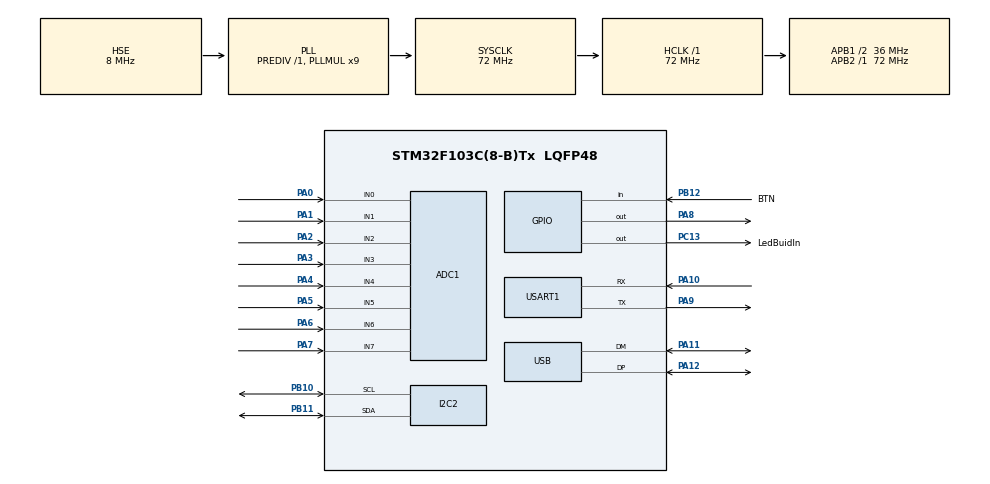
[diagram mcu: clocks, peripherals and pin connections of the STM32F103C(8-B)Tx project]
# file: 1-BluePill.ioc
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ADC1.Channel-0\#ChannelRegularConversion=ADC_CHANNEL_0
ADC1.Channel-1\#ChannelRegularConversion=ADC_CHANNEL_1
ADC1.Channel-2\#ChannelRegularConversion=ADC_CHANNEL_2
ADC1.Channel-3\#ChannelRegularConversion=ADC_CHANNEL_3
ADC1.Channel-4\#ChannelRegularConversion=ADC_CHANNEL_4
ADC1.Channel-5\#ChannelRegularConversion=ADC_CHANNEL_5
ADC1.Channel-6\#ChannelRegularConversion=ADC_CHANNEL_6
ADC1.Channel-7\#ChannelRegularConversion=ADC_CHANNEL_7
ADC1.NbrOfConversion=8
ADC1.NbrOfConversionFlag=1
ADC1.Rank-0\#ChannelRegularConversion=1
ADC1.Rank-1\#ChannelRegularConversion=2
ADC1.Rank-2\#ChannelRegularConversion=3
ADC1.Rank-3\#ChannelRegularConversion=4
ADC1.Rank-4\#ChannelRegularConversion=5
ADC1.Rank-5\#ChannelRegularConversion=6
ADC1.Rank-6\#ChannelRegularConversion=7
ADC1.Rank-7\#ChannelRegularConversion=8
ADC1.SamplingTime-0\#ChannelRegularConversion=ADC_SAMPLETIME_1CYCLE_5
ADC1.SamplingTime-1\#ChannelRegularConversion=ADC_SAMPLETIME_1CYCLE_5
ADC1.SamplingTime-2\#ChannelRegularConversion=ADC_SAMPLETIME_1CYCLE_5
ADC1.SamplingTime-3\#ChannelRegularConversion=ADC_SAMPLETIME_1CYCLE_5
ADC1.SamplingTime-4\#ChannelRegularConversion=ADC_SAMPLETIME_1CYCLE_5
ADC1.SamplingTime-5\#ChannelRegularConversion=ADC_SAMPLETIME_1CYCLE_5
ADC1.SamplingTime-6\#ChannelRegularConversion=ADC_SAMPLETIME_1CYCLE_5
ADC1.SamplingTime-7\#ChannelRegularConversion=ADC_SAMPLETIME_1CYCLE_5
ADC1.master=1
Dma.ADC1.0.Direction=DMA_PERIPH_TO_MEMORY
Dma.ADC1.0.Instance=DMA1_Channel1
Dma.ADC1.0.MemDataAlignment=DMA_MDATAALIGN_HALFWORD
Dma.ADC1.0.MemInc=DMA_MINC_ENABLE
Dma.ADC1.0.Mode=DMA_NORMAL
Dma.ADC1.0.PeriphDataAlignment=DMA_PDATAALIGN_HALFWORD
Dma.ADC1.0.PeriphInc=DMA_PINC_DISABLE
Dma.ADC1.0.Priority=DMA_PRIORITY_LOW
Dma.Request0=ADC1
Mcu.Family=STM32F1
Mcu.Name=STM32F103C(8-B)Tx
Mcu.Package=LQFP48
NVIC.DMA1_Channel1_IRQn=true\:0\:0\:false\:false\:true\:false\:true\:true
NVIC.PriorityGroup=NVIC_PRIORITYGROUP_4
NVIC.TIM1_UP_IRQn=true\:0\:0\:false\:false\:true\:true\:true\:true
NVIC.USART1_IRQn=true\:0\:0\:false\:false\:true\:true\:true\:true
NVIC.USB_LP_CAN1_RX0_IRQn=true\:0\:0\:false\:false\:true\:false\:true\:true
PA0-WKUP.Signal=ADCx_IN0
PA1.Signal=ADCx_IN1
PA10.Mode=Asynchronous
PA10.Signal=USART1_RX
PA11.Mode=Device
PA11.Signal=USB_DM
PA12.Mode=Device
PA12.Signal=USB_DP
PA13.Mode=Serial_Wire
PA13.Signal=SYS_JTMS-SWDIO
PA14.Mode=Serial_Wire
PA14.Signal=SYS_JTCK-SWCLK
PA2.Signal=ADCx_IN2
PA3.Signal=ADCx_IN3
PA4.Signal=ADCx_IN4
PA5.Signal=ADCx_IN5
PA6.Signal=ADCx_IN6
PA7.Signal=ADCx_IN7
PA8.Signal=GPIO_Output
PA9.Mode=Asynchronous
PA9.Signal=USART1_TX
PB10.Mode=I2C
PB10.Signal=I2C2_SCL
PB11.Mode=I2C
PB11.Signal=I2C2_SDA
PB12.GPIO_Label=BTN
PB12.GPIO_PuPd=GPIO_PULLUP
PB12.Signal=GPIO_Input
PC13-TAMPER-RTC.GPIO_Label=LedBuidIn
PC13-TAMPER-RTC.PinState=GPIO_PIN_SET
PC13-TAMPER-RTC.Signal=GPIO_Output
PC14-OSC32_IN.Mode=LSE-External-Oscillator
PC14-OSC32_IN.Signal=RCC_OSC32_IN
PC15-OSC32_OUT.Mode=LSE-External-Oscillator
PC15-OSC32_OUT.Signal=RCC_OSC32_OUT
PD0-OSC_IN.Mode=HSE-External-Oscillator
PD0-OSC_IN.Signal=RCC_OSC_IN
PD1-OSC_OUT.Mode=HSE-External-Oscillator
PD1-OSC_OUT.Signal=RCC_OSC_OUT
ProjectManager.HeapSize=0x200
ProjectManager.StackSize=0x400
ProjectManager.TargetToolchain=STM32CubeIDE
RCC.ADCPresc=RCC_ADCPCLK2_DIV6
RCC.AHBFreq_Value=72000000
RCC.APB1CLKDivider=RCC_HCLK_DIV2
RCC.APB1Freq_Value=36000000
RCC.APB1TimFreq_Value=72000000
RCC.APB2Freq_Value=72000000
RCC.APB2TimFreq_Value=72000000
RCC.HCLKFreq_Value=72000000
RCC.PLLMUL=RCC_PLL_MUL9
RCC.PLLSourceVirtual=RCC_PLLSOURCE_HSE
RCC.SYSCLKFreq_VALUE=72000000
RCC.SYSCLKSource=RCC_SYSCLKSOURCE_PLLCLK
RCC.USBFreq_Value=48000000
RCC.USBPrescaler=RCC_USBCLKSOURCE_PLL_DIV1_5
SH.ADCx_IN0.0=ADC1_IN0,IN0
SH.ADCx_IN1.0=ADC1_IN1,IN1
SH.ADCx_IN2.0=ADC1_IN2,IN2
SH.ADCx_IN3.0=ADC1_IN3,IN3
SH.ADCx_IN4.0=ADC1_IN4,IN4
SH.ADCx_IN5.0=ADC1_IN5,IN5
SH.ADCx_IN6.0=ADC1_IN6,IN6
SH.ADCx_IN7.0=ADC1_IN7,IN7
TIM1.Period=249
TIM1.Prescaler=71
USART1.VirtualMode=VM_ASYNC
USB_DEVICE.APP_RX_DATA_SIZE=256
USB_DEVICE.APP_TX_DATA_SIZE=256
USB_DEVICE.CLASS_NAME_FS=CDC
USB_DEVICE.PID_CDC_FS=0x5740
USB_DEVICE.VirtualMode=Cdc
USB_DEVICE.VirtualModeFS=Cdc_FS
VP_TIM1_VS_ClockSourceINT.Mode=Internal
VP_TIM4_VS_ClockSourceINT.Mode=Internal
VP_USB_DEVICE_VS_USB_DEVICE_CDC_FS.Mode=CDC_FS
board=custom

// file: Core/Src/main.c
/* USER CODE BEGIN Header */
/**
  ******************************************************************************
  * @file           : main.c
  * @brief          : Main program body
  ******************************************************************************
  * @attention
  *
  * Copyright (c) 2024 STMicroelectronics.
  * All rights reserved.
  *
  * This software is licensed under terms that can be found in the LICENSE file
  * in the root directory of this software component.
  * If no LICENSE file comes with this software, it is provided AS-IS.
  *
  ******************************************************************************
  */
/* USER CODE END Header */
#include "main.h"
#include "usb_device.h"

/* USER CODE BEGIN Includes */
#include "usbd_cdc_if.h"
/* USER CODE END Includes */

/* USER CODE BEGIN PTD */
typedef enum{
    START,
    HEADER_1,
    HEADER_2,
    HEADER_3,
    NBYTES,
    TOKEN,
    PAYLOAD
}_eProtocolo;

_eProtocolo estadoProtocolo;

typedef enum{
       ACK=0x0D,
       ALIVE=0xF0,
//       FIRMWARE=0xF1,
//       SET_LEDS=0xF2,
       IR_SENSOR=0xA0,
//       MOTOR_ACTION=0xA1,
//       SERVO_ACTION=0xA2,
//       ULTRA_SONIC=0xA3,
//       HORQUILLA=0xA4,
//       STARTCONFIG=0xEE,
       OTHERS
   }_eID;

typedef struct{
    uint8_t timeOut;         //!< TiemOut para reiniciar la máquina si se interrumpe la comunicación
    uint8_t indexStart; 	 ///////////////////// AGREGAR ///////////////////////////////////
    uint8_t cheksumRx;       //!< Cheksumm RX
    uint8_t cheksumtx;       //!< Cheksumm Tx
    uint8_t indexWriteRx;    //!< Indice de escritura del buffer circular de recepción
    uint8_t indexReadRx;     //!< Indice de lectura del buffer circular de recepción
    uint8_t indexWriteTx;    //!< Indice de escritura del buffer circular de transmisión
    uint8_t indexReadTx;     //!< Indice de lectura del buffer circular de transmisión
    uint8_t bufferRx[256];   //!< Buffer circular de recepción
    uint8_t bufferTx[256];   //!< Buffer circular de transmisión
    // uint8_t payload[32];     //!< Buffer para el Payload de datos recibidos
}_sDato ;

_sDato datosComProtocol;

typedef struct {
	uint8_t F250US: 1;
    uint8_t F10MS: 	1;
    uint8_t F100MS:	1;
    uint8_t F500MS:	1;
    uint8_t bit4: 	1;
    uint8_t bit5: 	1;
    uint8_t bit6: 	1;
    uint8_t bit7: 	1;
}_sFlags1;

_sFlags1 flags1;

typedef struct{
	uint16_t sensor0;
	uint16_t sensor1;
	uint16_t sensor2;
	uint16_t sensor3;
	uint16_t sensor4;
	uint16_t sensor5;
	uint16_t sensor6;
	uint16_t sensor7;
	uint16_t sensor8;
}_sIR;

_sIR ir;	//genero un array de mi struct para tener un historial ciclico de lecturas del censor IR

typedef union {
    int32_t i32;
    uint32_t ui32;
    uint16_t ui16[2];
    uint8_t ui8[4];
}_udat;

_udat myWord;

/* USER CODE END PTD */

/* USER CODE BEGIN PD */
#define TIME10ms		40
#define TIME100ms		10
#define TIME500ms		50

/* USER CODE END PD */

ADC_HandleTypeDef hadc1;
DMA_HandleTypeDef hdma_adc1;

I2C_HandleTypeDef hi2c2;

TIM_HandleTypeDef htim1;
TIM_HandleTypeDef htim4;

UART_HandleTypeDef huart1;

/* USER CODE BEGIN PV */
	uint8_t BTNstatus	= 0;
	uint8_t BTNcount	= 0;
	uint8_t t10ms	= TIME10ms;	//40
	uint8_t t100ms 	= TIME100ms;	//10
	uint8_t t500ms 	= TIME500ms;	//50
	uint8_t lastIR 	= 0;

//	uint8_t rx[256],ir,iw;

	uint8_t rxUSBData, newData;

	uint16_t bufADC[8];
/* USER CODE END PV */

void SystemClock_Config(void);
static void MX_GPIO_Init(void);
static void MX_DMA_Init(void);
static void MX_USART1_UART_Init(void);
static void MX_ADC1_Init(void);
static void MX_I2C2_Init(void);
static void MX_TIM4_Init(void);
static void MX_TIM1_Init(void);
/* USER CODE BEGIN PFP */
void onDataRx(void);
void decodeProtocol(_sDato *);
void decodeData(_sDato *);
void encodeData(uint8_t id);
void sendData(void);

void USBReceive(uint8_t *but, uint16_t len);

/* USER CODE END PFP */

/* USER CODE BEGIN 0 */

void HAL_ADC_ConvCpltCallback(ADC_HandleTypeDef* hadc){
//	HAL_ADC_GetValue(hadc);
	ir.sensor0 = bufADC[0];
	ir.sensor1 = bufADC[1];
	ir.sensor2 = bufADC[2];
	ir.sensor3 = bufADC[3];
	ir.sensor4 = bufADC[4];
	ir.sensor5 = bufADC[5];
	ir.sensor6 = bufADC[6];
	ir.sensor7 = bufADC[7];

//	ir.sensor0[lastIR] = bufADC[0];//buffer circular para la lectura de datos de los sensores IR
//	ir.sensor1[lastIR] = bufADC[1];
//	ir.sensor2[lastIR] = bufADC[2];
//	ir.sensor3[lastIR] = bufADC[3];
//	ir.sensor4[lastIR] = bufADC[4];
//	ir.sensor5[lastIR] = bufADC[5];
//	ir.sensor6[lastIR] = bufADC[6];
//	ir.sensor7[lastIR] = bufADC[7];
//	if (lastIR == 63){
//		lastIR = 0;
//	}else{
//		lastIR++;
//	}

}

void HAL_TIM_PeriodElapsedCallback(TIM_HandleTypeDef *htim){
	if (htim ->Instance == TIM1) {	//Entra cada 250us, 1ms= x4, 10ms= x40, 100ms= x400
		flags1.F250US = 1;

		t10ms--;

		if(t10ms == 0){
			flags1.F10MS = 1;
			t10ms = TIME10ms;

			t100ms--;
			t500ms--;
		}

		if(t100ms == 0){
			flags1.F100MS = 1;
			t100ms=TIME100ms;
		}

		if(t500ms == 0){
			flags1.F500MS = 1;
			t500ms=TIME500ms;
		}
	}
}

/*=============>Recepción de datos desde USART<=============
 * Interrupción que es llamada cuando se produce una recepción de datos.
 * Cargo los datos recibidos al Buffer de Recepción
 * */
void HAL_UART_RxCpltCallback(UART_HandleTypeDef *huart){
	if(huart ->Instance == USART1){
//		iw++;
		HAL_UART_Receive_IT(&huart1, &datosComProtocol.bufferRx[datosComProtocol.indexWriteRx++], 1);
		//HAL_UART_Receive_IT(&huart1, &rx[iw], 1);
	}
}

void USBReceive(uint8_t *buf, uint16_t len){
//	rxUSBData = buf[0];
//	rxUSBData = len;
//	newData = 1;
	for (int i = 0; i < len; ++i) {
		datosComProtocol.bufferRx[datosComProtocol.indexWriteRx] = buf[i];
	}

}

//'<' header
//byte1
//byte2
//byte3
//byte4
//checksum = suma de todos los bytes transmitidos
//'>' tail

//  4      1      1    1    N     1
//HEADER NBYTES TOKEN ID PAYLOAD CKS

//HEADER 4 bytes
//'U' 'N' 'E' 'R'

//NBYTES = ID+PAYLOAD+CKS = 2 + nbytes de payload

//TOKEN: ':'

//CKS: xor de todos los bytes enviados menos el CKS

void decodeProtocol(_sDato *datosCom){
	static uint8_t nBytes = 0;
	while (datosCom->indexReadRx != datosCom->indexWriteRx){
		switch (estadoProtocolo){
		case START:
			if (datosCom->bufferRx[datosCom->indexReadRx++]=='U') {
				estadoProtocolo = HEADER_1;
				datosCom->cheksumRx = 0;
			}
			break;
		case HEADER_1:
			if (datosCom->bufferRx[datosCom->indexReadRx++]=='N')
			   {
				   estadoProtocolo=HEADER_2;
			   }
			else{
				datosCom->indexReadRx--;
				estadoProtocolo=START;
			}
			break;
		case HEADER_2:
			if (datosCom->bufferRx[datosCom->indexReadRx++]=='E')
			{
				estadoProtocolo=HEADER_3;
			}
			else{
				datosCom->indexReadRx--;
			   estadoProtocolo=START;
			}
			break;
		case HEADER_3:
			if (datosCom->bufferRx[datosCom->indexReadRx++]=='R')
				{
					estadoProtocolo=NBYTES;
				}
			else{
				datosCom->indexReadRx--;
			   estadoProtocolo=START;
			}
			break;
		case NBYTES:
			datosCom->indexStart=datosCom->indexReadRx;
			nBytes=datosCom->bufferRx[datosCom->indexReadRx++];
			estadoProtocolo=TOKEN;
			break;
		case TOKEN:
			if (datosCom->bufferRx[datosCom->indexReadRx++]==':'){
			   estadoProtocolo=PAYLOAD;
				datosCom->cheksumRx ='U'^'N'^'E'^'R'^ nBytes^':';
				// datosCom->payload[0]=nBytes;
				// indice=1;
			}
			else{
				datosCom->indexReadRx--;
				estadoProtocolo=START;
			}
			break;
		case PAYLOAD:
			if (nBytes>1){
				// datosCom->payload[indice++]=datosCom->bufferRx[datosCom->indexReadRx];
				datosCom->cheksumRx ^= datosCom->bufferRx[datosCom->indexReadRx++];
			}
			nBytes--;
			if(nBytes<=0){
				estadoProtocolo=START;
				if(datosCom->cheksumRx == datosCom->bufferRx[datosCom->indexReadRx]){
					decodeData(datosCom);
				}
			}
			break;
		default:
			estadoProtocolo=START;
			break;
		}
	}

}

void decodeData(_sDato *datosCom){
	#define POSID   2
    #define POSDATA 3
	uint8_t auxBuffTx[50], indiceAux=0, cheksum;
	auxBuffTx[indiceAux++]='U';
	auxBuffTx[indiceAux++]='N';
	auxBuffTx[indiceAux++]='E';
	auxBuffTx[indiceAux++]='R';
	auxBuffTx[indiceAux++]= 0;
	auxBuffTx[indiceAux++]=':';

	switch (datosCom->bufferRx[datosCom->indexStart+POSID]) {
		case ALIVE:
			auxBuffTx[indiceAux++]=ALIVE;
			auxBuffTx[indiceAux++]=ACK;
			auxBuffTx[NBYTES]=0x03;
			break;
		default:
			auxBuffTx[indiceAux++]=0xDD;
			auxBuffTx[NBYTES]=0x02;
			break;
	}

	cheksum=0;
	for(uint8_t a=0 ;a < indiceAux ;a++)
	{
		cheksum ^= auxBuffTx[a];
		datosCom->bufferTx[datosComProtocol.indexWriteTx++]=auxBuffTx[a];
	}
		datosCom->bufferTx[datosComProtocol.indexWriteTx++]=cheksum;
//		CDC_Transmit_FS(datosCom->bufferTx, auxBuffTx[NBYTES]+6);

}

void encodeData(uint8_t id){
	uint8_t auxBuffTx[50], indiceAux=0, cheksum;
	auxBuffTx[indiceAux++]='U';
	auxBuffTx[indiceAux++]='N';
	auxBuffTx[indiceAux++]='E';
	auxBuffTx[indiceAux++]='R';
	auxBuffTx[indiceAux++]=0;
	auxBuffTx[indiceAux++]=':';

	switch (id) {
	case IR_SENSOR:
		auxBuffTx[indiceAux++]=IR_SENSOR;
		auxBuffTx[NBYTES]=0x12; //decimal= 18

		myWord.ui16[0] = ir.sensor0;
		//myWord.ui32 = ir.sensor0;
		auxBuffTx[indiceAux++] = myWord.ui8[0];
		auxBuffTx[indiceAux++] = myWord.ui8[1];

		myWord.ui16[0] = ir.sensor1;
		//myWord.ui32 = ir.sensor1;
		auxBuffTx[indiceAux++] = myWord.ui8[0];
		auxBuffTx[indiceAux++] = myWord.ui8[1];

		myWord.ui16[0] = ir.sensor2;
		//myWord.ui32 = ir.sensor2;
		auxBuffTx[indiceAux++] = myWord.ui8[0];
		auxBuffTx[indiceAux++] = myWord.ui8[1];

		myWord.ui16[0] = ir.sensor3;
		//myWord.ui32 = ir.sensor3;
		auxBuffTx[indiceAux++] = myWord.ui8[0];
		auxBuffTx[indiceAux++] = myWord.ui8[1];

		myWord.ui16[0] = ir.sensor4;
		//myWord.ui32 = ir.sensor4;
		auxBuffTx[indiceAux++] = myWord.ui8[0];
		auxBuffTx[indiceAux++] = myWord.ui8[1];

		myWord.ui16[0] = ir.sensor5;
		//myWord.ui32 = ir.sensor5;
		auxBuffTx[indiceAux++] = myWord.ui8[0];
		auxBuffTx[indiceAux++] = myWord.ui8[1];

		myWord.ui16[0] = ir.sensor6;
		//myWord.ui32 = ir.sensor6;
		auxBuffTx[indiceAux++] = myWord.ui8[0];
		auxBuffTx[indiceAux++] = myWord.ui8[1];

		myWord.ui16[0] = ir.sensor7;
		//myWord.ui32 = ir.sensor7;
		auxBuffTx[indiceAux++] = myWord.ui8[0];
		auxBuffTx[indiceAux++] = myWord.ui8[1];

		break;
		default:
			auxBuffTx[indiceAux++]=0xDD;
			auxBuffTx[NBYTES]=0x02;
			break;
	}
	cheksum=0;
	for(uint8_t a=0 ;a < indiceAux ;a++)
	{
		cheksum ^= auxBuffTx[a];
		datosComProtocol.bufferTx[datosComProtocol.indexWriteTx++]=auxBuffTx[a];
	}
		datosComProtocol.bufferTx[datosComProtocol.indexWriteTx++]=cheksum;
}

/* USER CODE END 0 */

int main(void)
{

  /* MCU Configuration--------------------------------------------------------*/

  /* Reset of all peripherals, Initializes the Flash interface and the Systick. */
  HAL_Init();

  /* Configure the system clock */
  SystemClock_Config();

  /* Initialize all configured peripherals */
  MX_GPIO_Init();
  MX_DMA_Init();
  MX_USART1_UART_Init();
  MX_USB_DEVICE_Init();
  MX_ADC1_Init();
  MX_I2C2_Init();
  MX_TIM4_Init();
  MX_TIM1_Init();
  /* USER CODE BEGIN 2 */
  HAL_TIM_Base_Start_IT(&htim1);
  CDC_AttachRxData(USBReceive);

  datosComProtocol.indexWriteRx = 0;		//Init indice recepión del Buffer de Recepción
  datosComProtocol.indexReadRx = 0;			//Init indice de lectura del Buffer de Recepción
  datosComProtocol.indexWriteTx = 0;
  datosComProtocol.indexReadTx = 0;
//  ir=0,iw=0;

  HAL_UART_Receive_IT(&huart1, &datosComProtocol.bufferRx[datosComProtocol.indexWriteRx], 1);

  HAL_ADC_Start_DMA(&hadc1, (uint32_t *)bufADC, 8);

  /* USER CODE END 2 */

  /* Infinite loop */
  /* USER CODE BEGIN WHILE */
  HAL_GPIO_WritePin(LedBuidIn_GPIO_Port, LedBuidIn_Pin, 0);
  HAL_Delay(300);
  HAL_GPIO_WritePin(LedBuidIn_GPIO_Port, LedBuidIn_Pin, 1);
  HAL_Delay(300);
  HAL_GPIO_WritePin(LedBuidIn_GPIO_Port, LedBuidIn_Pin, 0);
  HAL_Delay(300);
  HAL_GPIO_WritePin(LedBuidIn_GPIO_Port, LedBuidIn_Pin, 1);
  HAL_Delay(300);
  HAL_GPIO_WritePin(LedBuidIn_GPIO_Port, LedBuidIn_Pin, 0);
  HAL_Delay(300);
  HAL_GPIO_WritePin(LedBuidIn_GPIO_Port, LedBuidIn_Pin, 1);

//  uint8_t transComplete  = 0;

  uint8_t lengthTx;

  while (1)
  {
    /* USER CODE END WHILE */

    /* USER CODE BEGIN 3 */
	  if (flags1.F250US == 1){
		  flags1.F250US = 0;
//		  HAL_ADC_Start_DMA(&hadc1, (uint32_t *)bufADC, 8);
	  }

	  if(flags1.F100MS==1){
		  flags1.F100MS = 0;
//		  HAL_ADC_Start_DMA(&hadc1, (uint32_t *)bufADC, 8);
	  }

	  if (flags1.F500MS == 1) {
		  flags1.F500MS = 0;
		  HAL_GPIO_TogglePin(LedBuidIn_GPIO_Port, LedBuidIn_Pin);
		  encodeData(IR_SENSOR);
	  }

//	  if(newData){
//		  if(CDC_Transmit_FS(&rxUSBData, 1) == USBD_OK){
//			  newData = 0;
//		  }
//	  }

	  if(datosComProtocol.indexReadRx != datosComProtocol.indexWriteRx){
		  decodeProtocol(&datosComProtocol);
	  }

	  if(datosComProtocol.indexReadTx != datosComProtocol.indexWriteTx){
		  lengthTx = datosComProtocol.indexWriteTx - datosComProtocol.indexReadTx;
		  if((CDC_Transmit_FS(&datosComProtocol.bufferTx[datosComProtocol.indexReadTx], lengthTx) == USBD_OK))
			  datosComProtocol.indexReadTx++;
	  }

//	  if (huart1.gState == HAL_UART_STATE_READY) {
//		  HAL_UART_Transmit_IT(&huart1, &datosComProtocol.bufferTx[datosComProtocol.indexReadTx++], 1);
//	  }

  }
}
  /* USER CODE END 3 */

void SystemClock_Config(void)
{
  RCC_OscInitTypeDef RCC_OscInitStruct = {0};
  RCC_ClkInitTypeDef RCC_ClkInitStruct = {0};
  RCC_PeriphCLKInitTypeDef PeriphClkInit = {0};

  /** Initializes the RCC Oscillators according to the specified parameters
  * in the RCC_OscInitTypeDef structure.
  */
  RCC_OscInitStruct.OscillatorType = RCC_OSCILLATORTYPE_HSE;
  RCC_OscInitStruct.HSEState = RCC_HSE_ON;
  RCC_OscInitStruct.HSEPredivValue = RCC_HSE_PREDIV_DIV1;
  RCC_OscInitStruct.HSIState = RCC_HSI_ON;
  RCC_OscInitStruct.PLL.PLLState = RCC_PLL_ON;
  RCC_OscInitStruct.PLL.PLLSource = RCC_PLLSOURCE_HSE;
  RCC_OscInitStruct.PLL.PLLMUL = RCC_PLL_MUL9;
  if (HAL_RCC_OscConfig(&RCC_OscInitStruct) != HAL_OK)
  {
    Error_Handler();
  }

  /** Initializes the CPU, AHB and APB buses clocks
  */
  RCC_ClkInitStruct.ClockType = RCC_CLOCKTYPE_HCLK|RCC_CLOCKTYPE_SYSCLK
                              |RCC_CLOCKTYPE_PCLK1|RCC_CLOCKTYPE_PCLK2;
  RCC_ClkInitStruct.SYSCLKSource = RCC_SYSCLKSOURCE_PLLCLK;
  RCC_ClkInitStruct.AHBCLKDivider = RCC_SYSCLK_DIV1;
  RCC_ClkInitStruct.APB1CLKDivider = RCC_HCLK_DIV2;
  RCC_ClkInitStruct.APB2CLKDivider = RCC_HCLK_DIV1;

  if (HAL_RCC_ClockConfig(&RCC_ClkInitStruct, FLASH_LATENCY_2) != HAL_OK)
  {
    Error_Handler();
  }
  PeriphClkInit.PeriphClockSelection = RCC_PERIPHCLK_ADC|RCC_PERIPHCLK_USB;
  PeriphClkInit.AdcClockSelection = RCC_ADCPCLK2_DIV6;
  PeriphClkInit.UsbClockSelection = RCC_USBCLKSOURCE_PLL_DIV1_5;
  if (HAL_RCCEx_PeriphCLKConfig(&PeriphClkInit) != HAL_OK)
  {
    Error_Handler();
  }
}

static void MX_ADC1_Init(void)
{

  ADC_ChannelConfTypeDef sConfig = {0};

  /** Common config
  */
  hadc1.Instance = ADC1;
  hadc1.Init.ScanConvMode = ADC_SCAN_ENABLE;
  hadc1.Init.ContinuousConvMode = DISABLE;
  hadc1.Init.DiscontinuousConvMode = DISABLE;
  hadc1.Init.ExternalTrigConv = ADC_SOFTWARE_START;
  hadc1.Init.DataAlign = ADC_DATAALIGN_RIGHT;
  hadc1.Init.NbrOfConversion = 8;
  if (HAL_ADC_Init(&hadc1) != HAL_OK)
  {
    Error_Handler();
  }

  /** Configure Regular Channel
  */
  sConfig.Channel = ADC_CHANNEL_0;
  sConfig.Rank = ADC_REGULAR_RANK_1;
  sConfig.SamplingTime = ADC_SAMPLETIME_1CYCLE_5;
  if (HAL_ADC_ConfigChannel(&hadc1, &sConfig) != HAL_OK)
  {
    Error_Handler();
  }

  /** Configure Regular Channel
  */
  sConfig.Channel = ADC_CHANNEL_1;
  sConfig.Rank = ADC_REGULAR_RANK_2;
  if (HAL_ADC_ConfigChannel(&hadc1, &sConfig) != HAL_OK)
  {
    Error_Handler();
  }

  /** Configure Regular Channel
  */
  sConfig.Channel = ADC_CHANNEL_2;
  sConfig.Rank = ADC_REGULAR_RANK_3;
  if (HAL_ADC_ConfigChannel(&hadc1, &sConfig) != HAL_OK)
  {
    Error_Handler();
  }

  /** Configure Regular Channel
  */
  sConfig.Channel = ADC_CHANNEL_3;
  sConfig.Rank = ADC_REGULAR_RANK_4;
  if (HAL_ADC_ConfigChannel(&hadc1, &sConfig) != HAL_OK)
  {
    Error_Handler();
  }

  /** Configure Regular Channel
  */
  sConfig.Channel = ADC_CHANNEL_4;
  sConfig.Rank = ADC_REGULAR_RANK_5;
  if (HAL_ADC_ConfigChannel(&hadc1, &sConfig) != HAL_OK)
  {
    Error_Handler();
  }

  /** Configure Regular Channel
  */
  sConfig.Channel = ADC_CHANNEL_5;
  sConfig.Rank = ADC_REGULAR_RANK_6;
  if (HAL_ADC_ConfigChannel(&hadc1, &sConfig) != HAL_OK)
  {
    Error_Handler();
  }

  /** Configure Regular Channel
  */
  sConfig.Channel = ADC_CHANNEL_6;
  sConfig.Rank = ADC_REGULAR_RANK_7;
  if (HAL_ADC_ConfigChannel(&hadc1, &sConfig) != HAL_OK)
  {
    Error_Handler();
  }

  /** Configure Regular Channel
  */
  sConfig.Channel = ADC_CHANNEL_7;
  sConfig.Rank = ADC_REGULAR_RANK_8;
  if (HAL_ADC_ConfigChannel(&hadc1, &sConfig) != HAL_OK)
  {
    Error_Handler();
  }

}

static void MX_I2C2_Init(void)
{

  hi2c2.Instance = I2C2;
  hi2c2.Init.ClockSpeed = 100000;
  hi2c2.Init.DutyCycle = I2C_DUTYCYCLE_2;
  hi2c2.Init.OwnAddress1 = 0;
  hi2c2.Init.AddressingMode = I2C_ADDRESSINGMODE_7BIT;
  hi2c2.Init.DualAddressMode = I2C_DUALADDRESS_DISABLE;
  hi2c2.Init.OwnAddress2 = 0;
  hi2c2.Init.GeneralCallMode = I2C_GENERALCALL_DISABLE;
  hi2c2.Init.NoStretchMode = I2C_NOSTRETCH_DISABLE;
  if (HAL_I2C_Init(&hi2c2) != HAL_OK)
  {
    Error_Handler();
  }

}

static void MX_TIM1_Init(void)
{

  TIM_ClockConfigTypeDef sClockSourceConfig = {0};
  TIM_MasterConfigTypeDef sMasterConfig = {0};

  htim1.Instance = TIM1;
  htim1.Init.Prescaler = 71;
  htim1.Init.CounterMode = TIM_COUNTERMODE_UP;
  htim1.Init.Period = 249;
  htim1.Init.ClockDivision = TIM_CLOCKDIVISION_DIV1;
  htim1.Init.RepetitionCounter = 0;
  htim1.Init.AutoReloadPreload = TIM_AUTORELOAD_PRELOAD_DISABLE;
  if (HAL_TIM_Base_Init(&htim1) != HAL_OK)
  {
    Error_Handler();
  }
  sClockSourceConfig.ClockSource = TIM_CLOCKSOURCE_INTERNAL;
  if (HAL_TIM_ConfigClockSource(&htim1, &sClockSourceConfig) != HAL_OK)
  {
    Error_Handler();
  }
  sMasterConfig.MasterOutputTrigger = TIM_TRGO_RESET;
  sMasterConfig.MasterSlaveMode = TIM_MASTERSLAVEMODE_DISABLE;
  if (HAL_TIMEx_MasterConfigSynchronization(&htim1, &sMasterConfig) != HAL_OK)
  {
    Error_Handler();
  }

}

static void MX_TIM4_Init(void)
{

  TIM_ClockConfigTypeDef sClockSourceConfig = {0};
  TIM_MasterConfigTypeDef sMasterConfig = {0};

  htim4.Instance = TIM4;
  htim4.Init.Prescaler = 0;
  htim4.Init.CounterMode = TIM_COUNTERMODE_UP;
  htim4.Init.Period = 65535;
  htim4.Init.ClockDivision = TIM_CLOCKDIVISION_DIV1;
  htim4.Init.AutoReloadPreload = TIM_AUTORELOAD_PRELOAD_DISABLE;
  if (HAL_TIM_Base_Init(&htim4) != HAL_OK)
  {
    Error_Handler();
  }
  sClockSourceConfig.ClockSource = TIM_CLOCKSOURCE_INTERNAL;
  if (HAL_TIM_ConfigClockSource(&htim4, &sClockSourceConfig) != HAL_OK)
  {
    Error_Handler();
  }
  sMasterConfig.MasterOutputTrigger = TIM_TRGO_RESET;
  sMasterConfig.MasterSlaveMode = TIM_MASTERSLAVEMODE_DISABLE;
  if (HAL_TIMEx_MasterConfigSynchronization(&htim4, &sMasterConfig) != HAL_OK)
  {
    Error_Handler();
  }

}

static void MX_USART1_UART_Init(void)
{

  huart1.Instance = USART1;
  huart1.Init.BaudRate = 115200;
  huart1.Init.WordLength = UART_WORDLENGTH_8B;
  huart1.Init.StopBits = UART_STOPBITS_1;
  huart1.Init.Parity = UART_PARITY_NONE;
  huart1.Init.Mode = UART_MODE_TX_RX;
  huart1.Init.HwFlowCtl = UART_HWCONTROL_NONE;
  huart1.Init.OverSampling = UART_OVERSAMPLING_16;
  if (HAL_UART_Init(&huart1) != HAL_OK)
  {
    Error_Handler();
  }

}

static void MX_DMA_Init(void)
{

  /* DMA controller clock enable */
  __HAL_RCC_DMA1_CLK_ENABLE();

  /* DMA interrupt init */
  /* DMA1_Channel1_IRQn interrupt configuration */
  HAL_NVIC_SetPriority(DMA1_Channel1_IRQn, 0, 0);
  HAL_NVIC_EnableIRQ(DMA1_Channel1_IRQn);

}

static void MX_GPIO_Init(void)
{
  GPIO_InitTypeDef GPIO_InitStruct = {0};

  /* GPIO Ports Clock Enable */
  __HAL_RCC_GPIOC_CLK_ENABLE();
  __HAL_RCC_GPIOD_CLK_ENABLE();
  __HAL_RCC_GPIOA_CLK_ENABLE();
  __HAL_RCC_GPIOB_CLK_ENABLE();

  /*Configure GPIO pin Output Level */
  HAL_GPIO_WritePin(LedBuidIn_GPIO_Port, LedBuidIn_Pin, GPIO_PIN_SET);

  /*Configure GPIO pin Output Level */
  HAL_GPIO_WritePin(GPIOA, GPIO_PIN_8, GPIO_PIN_RESET);

  /*Configure GPIO pin : LedBuidIn_Pin */
  GPIO_InitStruct.Pin = LedBuidIn_Pin;
  GPIO_InitStruct.Mode = GPIO_MODE_OUTPUT_PP;
  GPIO_InitStruct.Pull = GPIO_NOPULL;
  GPIO_InitStruct.Speed = GPIO_SPEED_FREQ_LOW;
  HAL_GPIO_Init(LedBuidIn_GPIO_Port, &GPIO_InitStruct);

  /*Configure GPIO pin : BTN_Pin */
  GPIO_InitStruct.Pin = BTN_Pin;
  GPIO_InitStruct.Mode = GPIO_MODE_INPUT;
  GPIO_InitStruct.Pull = GPIO_PULLUP;
  HAL_GPIO_Init(BTN_GPIO_Port, &GPIO_InitStruct);

  /*Configure GPIO pin : PA8 */
  GPIO_InitStruct.Pin = GPIO_PIN_8;
  GPIO_InitStruct.Mode = GPIO_MODE_OUTPUT_PP;
  GPIO_InitStruct.Pull = GPIO_NOPULL;
  GPIO_InitStruct.Speed = GPIO_SPEED_FREQ_LOW;
  HAL_GPIO_Init(GPIOA, &GPIO_InitStruct);

}

void Error_Handler(void)
{
  __disable_irq();
  while (1)
  {
  }
}
